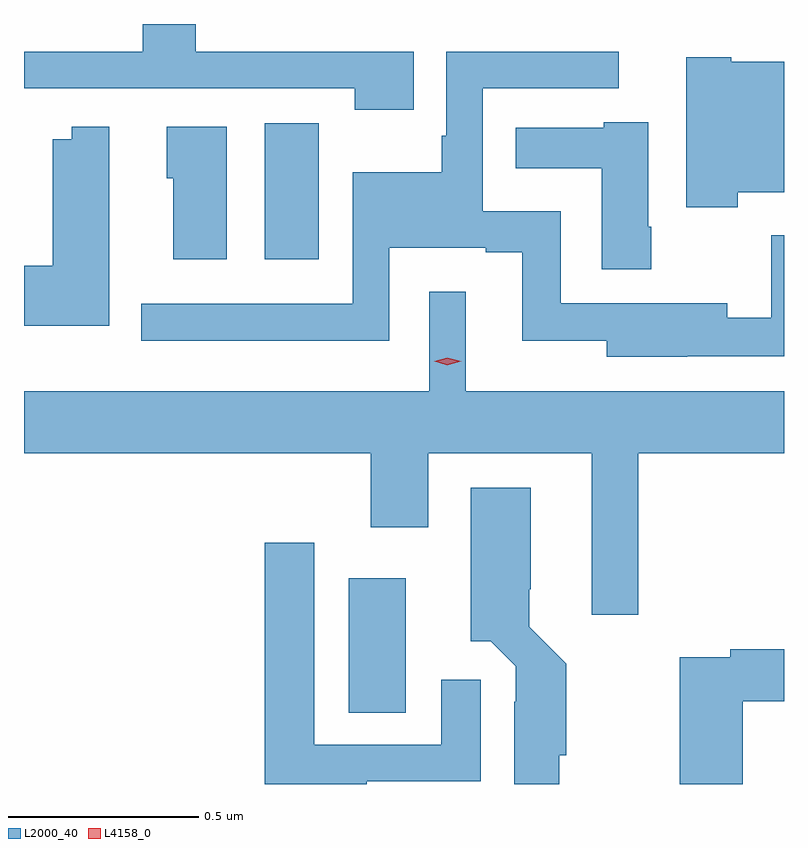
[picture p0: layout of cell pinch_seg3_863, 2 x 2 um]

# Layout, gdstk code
import gdstk
lib = gdstk.Library(unit=1e-6, precision=1e-09)
def R(c, l, rs):  # rectangles x0, y0, x1, y1
    for r in rs: c.add(gdstk.rectangle(r[:2], r[2:], *l))
def P(c, l, *ps):  # polygons
    for p in ps: c.add(gdstk.Polygon(p, *l))
L2000_40 = (2000, 40)
L4158_0 = (4158, 0)

pinch_seg3_863 = lib.new_cell('pinch_seg3_863')
R(pinch_seg3_863, L2000_40, [(709.706,721.546,709.855,721.9), (709.484,722.739,709.627,723.097)])
P(pinch_seg3_863, L2000_40, [(709.877,723.285),(709.303,723.285),(709.303,723.358),(709.163,723.358),(709.163,723.285),(708.851,723.285),(708.851,723.189),(709.721,723.189),(709.721,723.132),(709.877,723.132)],
  [(710.597,722.484),(710.851,722.484),(710.851,722.802),(710.817,722.802),(710.817,722.585),(710.701,722.585),(710.701,722.623),(710.263,722.623),(710.263,722.865),(710.058,722.865),(710.058,723.189),(710.416,723.189),(710.416,723.285),(709.962,723.285),(709.962,723.064),(709.95,723.064),(709.95,722.968),(709.716,722.968),(709.716,722.622),(709.16,722.622),(709.16,722.525),(709.812,722.525),(709.812,722.769),(710.066,722.769),(710.066,722.757),(710.162,722.757),(710.162,722.525),(710.384,722.525),(710.384,722.483),(710.597,722.483)],
  [(710.729,722.915),(710.851,722.915),(710.851,723.259),(710.712,723.259),(710.712,723.271),(710.594,723.271),(710.594,722.876),(710.729,722.876)],
  [(710.502,722.824),(710.494,722.824),(710.494,723.1),(710.376,723.1),(710.376,723.085),(710.145,723.085),(710.145,722.978),(710.372,722.978),(710.372,722.712),(710.502,722.712)],
  [(709.384,723.088),(709.226,723.088),(709.226,722.952),(709.244,722.952),(709.244,722.739),(709.384,722.739)],
  [(709.075,723.088),(708.977,723.088),(708.977,723.055),(708.926,723.055),(708.926,722.722),(708.851,722.722),(708.851,722.564),(709.075,722.564)],
  [(710.468,722.228),(710.851,722.228),(710.851,722.392),(710.014,722.392),(710.014,722.653),(709.917,722.653),(709.917,722.392),(708.851,722.392),(708.851,722.228),(709.763,722.228),(709.763,722.034),(709.915,722.034),(709.915,722.228),(710.345,722.228),(710.345,721.803),(710.468,721.803)],
  [(710.26,721.434),(710.278,721.434),(710.278,721.675),(710.181,721.772),(710.181,721.87),(710.185,721.87),(710.185,722.137),(710.027,722.137),(710.027,721.734),(710.079,721.734),(710.145,721.668),(710.145,721.574),(710.141,721.574),(710.141,721.358),(710.26,721.358)],
  [(709.753,721.365),(710.053,721.365),(710.053,721.633),(709.949,721.633),(709.949,721.461),(709.615,721.461),(709.615,721.993),(709.484,721.993),(709.484,721.358),(709.753,721.358)],
  [(710.742,721.576),(710.851,721.576),(710.851,721.712),(710.71,721.712),(710.71,721.692),(710.576,721.692),(710.576,721.358),(710.742,721.358)])
P(pinch_seg3_863, L4158_0, [(709.965,722.46),(709.93,722.47),(709.93,722.47),(709.93,722.471),(709.965,722.48),(710.001,722.471),(710.001,722.47),(710.001,722.47)])

lib.write_gds('pinch_seg3_863.gds')
